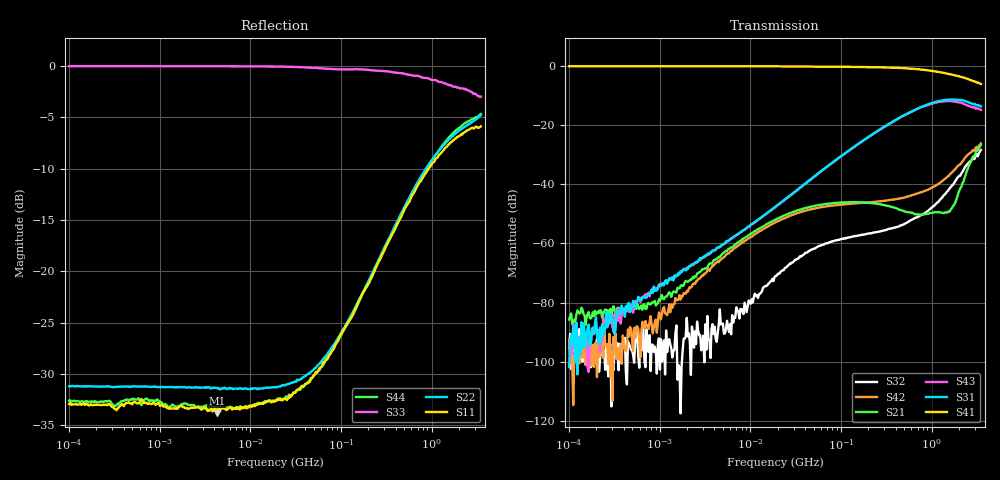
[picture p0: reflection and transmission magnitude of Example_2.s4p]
!Keysight Technologies,E5080A,MY55200740,A.12.60.03
!Date: Wednesday, July 22, 2020 12:05:52
!Correction: S11(Full 4 Port(1,2,3,4))
!S12(Full 4 Port(1,2,3,4))
!S13(Full 4 Port(1,2,3,4))
!S14(Full 4 Port(1,2,3,4))
!S21(Full 4 Port(1,2,3,4))
!S22(Full 4 Port(1,2,3,4))
!S23(Full 4 Port(1,2,3,4))
!S24(Full 4 Port(1,2,3,4))
!S31(Full 4 Port(1,2,3,4))
!S32(Full 4 Port(1,2,3,4))
!S33(Full 4 Port(1,2,3,4))
!S34(Full 4 Port(1,2,3,4))
!S41(Full 4 Port(1,2,3,4))
!S42(Full 4 Port(1,2,3,4))
!S43(Full 4 Port(1,2,3,4))
!S44(Full 4 Port(1,2,3,4))
!S4P File: Measurements: <S11,S12,S13,S14>,
!<S21,S22,S23,S24>,
!<S31,S32,S33,S34>,
!<S41,S42,S43,S44>:Log Frequency Sweep
# Hz S  dB  R 50
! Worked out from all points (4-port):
!   400 points, 100 kHz to 3.5 GHz, reference 50 ohm
!   strongest paths, dB at 100 kHz, 1.377 MHz, 18.96 MHz, 261 MHz, 3.5 GHz:
!     S41: -0.2, -0.2, -0.2, -0.5, -6.2
!     S31: -101.7, -71.6, -47.6, -21.8, -13.8
!     S43: -94.6, -71.4, -47.7, -21.9, -14.9
!     S21: -85.7, -76.9, -52.0, -46.7, -26.7
!     S42: -92.6, -81.8, -52.8, -45.8, -26.2
!     S32: -95.3, -98.5, -71.0, -56.0, -28.5
!   lowest |S11| = -33.8 dB at 4.252 MHz (marker M1), VSWR 1.04, Z = 52 - j0.51 ohm
!   |S11| at or under -10 dB: start of sweep to 923.4 MHz
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100000  -32.94 5.6  -91.17 67.0  -104.67 46.1  -0.20 -0.0
        -85.70 163.0  -31.21 1.6  -100.96 -122.0  -84.71 -160.1
        -101.74 28.4  -95.30 -43.7  0.00 -0.0  -91.81 18.3
        -0.20 -0.0  -92.56 122.1  -94.55 120.6  -32.61 5.8
1306432  -33.35 -6.7  -80.90 111.0  -71.84 92.5  -0.19 -0.1
         -76.83 -178.7  -31.30 -3.2  -106.40 122.6  -76.89 -175.4
         -71.99 95.1  -94.11 42.0  0.00 -0.1  -71.94 92.2
         -0.19 -0.1  -83.26 112.4  -71.92 91.2  -33.17 -7.0
4251829  -33.85 -14.0  -65.52 104.6  -61.63 95.7  -0.20 -0.3
         -65.15 133.8  -31.38 -10.1  -91.03 57.5  -65.26 139.2
         -61.65 95.2  -93.20 125.0  -0.00 -0.3  -61.65 92.2
         -0.20 -0.3  -66.48 107.8  -61.55 94.9  -33.22 -12.4
1.06458e7  -33.07 -33.3  -56.49 83.0  -53.32 97.9  -0.22 -0.7
           -56.37 94.2  -31.46 -23.3  -78.47 113.3  -57.21 96.2
           -53.25 98.3  -79.94 105.9  -0.01 -0.9  -53.39 98.3
           -0.22 -0.7  -57.43 83.0  -53.36 98.2  -33.14 -31.7
5.554726e7  -29.78 -77.3  -47.14 33.3  -36.46 99.1  -0.34 -2.3
            -47.10 35.7  -29.17 -70.1  -61.20 62.9  -47.98 27.3
            -36.45 99.2  -61.10 61.9  -0.18 -4.6  -36.56 99.8
            -0.34 -2.3  -47.97 24.9  -36.55 99.7  -29.74 -79.1
1.552459e9  -7.62 -133.1  -49.39 105.5  -11.48 15.0  -2.81 -32.4
            -49.39 105.6  -7.10 -128.3  -41.79 -89.9  -37.11 -116.3
            -11.48 15.1  -41.80 -89.9  -1.84 -76.4  -11.98 31.3
            -2.79 -32.4  -37.11 -116.4  -11.97 31.1  -6.95 -121.7
3.5e9  -5.87 -157.9  -26.77 143.1  -13.79 -15.3  -6.25 -50.9
       -26.74 143.0  -4.76 -141.8  -28.48 176.3  -26.28 173.5
       -13.75 -15.4  -28.47 176.0  -2.97 -112.4  -14.93 37.9
       -6.21 -51.0  -26.24 173.6  -14.94 37.9  -4.66 -144.0
